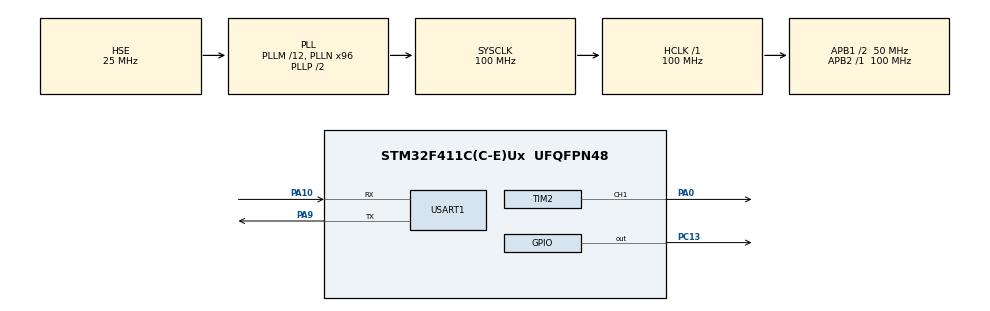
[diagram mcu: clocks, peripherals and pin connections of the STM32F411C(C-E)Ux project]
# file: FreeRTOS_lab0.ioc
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Mcu.Family=STM32F4
Mcu.Name=STM32F411C(C-E)Ux
Mcu.Package=UFQFPN48
NVIC.PriorityGroup=NVIC_PRIORITYGROUP_4
NVIC.TIM5_IRQn=true\:15\:0\:false\:false\:true\:false\:true\:true
NVIC.TimeBase=TIM5_IRQn
NVIC.TimeBaseIP=TIM5
NVIC.USART1_IRQn=true\:15\:0\:true\:false\:true\:true\:true\:true
PA0-WKUP.Signal=S_TIM2_CH1_ETR
PA10.Mode=Asynchronous
PA10.Signal=USART1_RX
PA9.Mode=Asynchronous
PA9.Signal=USART1_TX
PC13-ANTI_TAMP.Signal=GPIO_Output
PC14-OSC32_IN.Mode=LSE-External-Oscillator
PC14-OSC32_IN.Signal=RCC_OSC32_IN
PC15-OSC32_OUT.Mode=LSE-External-Oscillator
PC15-OSC32_OUT.Signal=RCC_OSC32_OUT
PH0\ -\ OSC_IN.Mode=HSE-External-Oscillator
PH0\ -\ OSC_IN.Signal=RCC_OSC_IN
PH1\ -\ OSC_OUT.Mode=HSE-External-Oscillator
PH1\ -\ OSC_OUT.Signal=RCC_OSC_OUT
ProjectManager.HeapSize=0x200
ProjectManager.StackSize=0x400
ProjectManager.TargetToolchain=CMake
RCC.48MHZClocksFreq_Value=50000000
RCC.AHBFreq_Value=100000000
RCC.APB1CLKDivider=RCC_HCLK_DIV2
RCC.APB1Freq_Value=50000000
RCC.APB1TimFreq_Value=100000000
RCC.APB2Freq_Value=100000000
RCC.APB2TimFreq_Value=100000000
RCC.CortexFreq_Value=100000000
RCC.HCLKFreq_Value=100000000
RCC.HSE_VALUE=25000000
RCC.HSI_VALUE=16000000
RCC.PLLM=12
RCC.PLLN=96
RCC.PLLSourceVirtual=RCC_PLLSOURCE_HSE
RCC.SYSCLKFreq_VALUE=100000000
RCC.SYSCLKSource=RCC_SYSCLKSOURCE_PLLCLK
RCC.VCOOutputFreq_Value=200000000
SH.S_TIM2_CH1_ETR.0=TIM2_CH1,PWM Generation1 CH1
TIM2.Channel-PWM\ Generation1\ CH1=TIM_CHANNEL_1
TIM2.Period=2000
USART1.VirtualMode=VM_ASYNC
VP_SYS_VS_tim5.Mode=TIM5
board=custom

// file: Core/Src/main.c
/* USER CODE BEGIN Header */
/**
  ******************************************************************************
  * @file           : main.c
  * @brief          : Main program body
  ******************************************************************************
  * @attention
  *
  * Copyright (c) 2025 STMicroelectronics.
  * All rights reserved.
  *
  * This software is licensed under terms that can be found in the LICENSE file
  * in the root directory of this software component.
  * If no LICENSE file comes with this software, it is provided AS-IS.
  *
  ******************************************************************************
  */
/* USER CODE END Header */
#include "main.h"

TIM_HandleTypeDef htim2;

UART_HandleTypeDef huart1;

void SystemClock_Config(void);
static void MX_GPIO_Init(void);
static void MX_TIM2_Init(void);
static void MX_USART1_UART_Init(void);

/* USER CODE BEGIN 0 */

void vApplicationStackOverflowHook(TaskHandle_t xTask, char* text) {
  while (1){}
}

void vApplicationMallocFailedHook(void) {
  while(1) {
    HAL_GPIO_TogglePin(GPIOC, GPIO_PIN_13);
    for(volatile int i=0; i<500000; i++);
  }
}

TaskHandle_t mainTaskHandle;

uint16_t currentMessagePosition_IRQ = 1;
char messageBuffer_IRQ[1024] = {0};

void HAL_UART_RxCpltCallback(UART_HandleTypeDef *huart) {
  if (huart == &huart1) {
    if (HAL_UART_Receive_IT(&huart1, (uint8_t*)(messageBuffer_IRQ + currentMessagePosition_IRQ), 1) == HAL_OK) {

      char receivedSymbol = messageBuffer_IRQ[currentMessagePosition_IRQ - 1];

      if (receivedSymbol == '\n' || receivedSymbol == '\r') {
        messageBuffer_IRQ[currentMessagePosition_IRQ] = '\0';
        currentMessagePosition_IRQ = 1;

        xTaskNotifyFromISR(mainTaskHandle, (uint32_t)messageBuffer_IRQ, eSetValueWithOverwrite, NULL);
      }else {
        currentMessagePosition_IRQ++;
      }

    }
  }
}

void ReadTask(void *pvParameters) {
  uint16_t currentMessagePosition = 0;
  char* messageBuffer = pvPortMalloc(1024);
  char* transmitBuffer = pvPortMalloc(1024 + 15);
  while(1) {
    if (HAL_UART_Receive(&huart1, (uint8_t*)(messageBuffer + currentMessagePosition), 1, 1000) == HAL_OK) {

      if (messageBuffer[currentMessagePosition] == '\n' || messageBuffer[currentMessagePosition] == '\r') {
        currentMessagePosition = 0;

        sprintf(transmitBuffer, "Received data: %s\n\r", messageBuffer);
        HAL_UART_Transmit(&huart1, (uint8_t*)transmitBuffer, 1024, 1000);
        xTaskNotify(mainTaskHandle, parseMessage(messageBuffer), eSetValueWithOverwrite);
      }else {
        currentMessagePosition++;
      }

    }
  }
}

void MainTask(void *pvParameters) {
  uint32_t rec_value;
  char* transmitBuffer = pvPortMalloc(1024);
  while (1) {
    vTaskDelay(pdMS_TO_TICKS(100));
    if (xTaskNotifyWait(0, INT32_MAX, &rec_value, portMAX_DELAY) == pdTRUE) {
      const int16_t cycles_value = parseMessage((char*)rec_value);
      if (cycles_value >= 0) {
        TIM2->CCR1 = (uint32_t)cycles_value;
      }
      snprintf(transmitBuffer, 1024, "Received data: %s\r\n", (char*) rec_value);
      HAL_UART_Transmit(&huart1, (uint8_t*)transmitBuffer, 1024, 1000);
    }
  }
}

/* USER CODE END 0 */

int main(void)
{

  /* USER CODE BEGIN 1 */
  init_mprintf();
  /* USER CODE END 1 */

  /* MCU Configuration--------------------------------------------------------*/

  /* Reset of all peripherals, Initializes the Flash interface and the Systick. */
  HAL_Init();

  /* USER CODE BEGIN Init */
  BaseType_t result = pdFAIL;
  /* USER CODE END Init */

  /* Configure the system clock */
  SystemClock_Config();

  /* Initialize all configured peripherals */
  MX_GPIO_Init();
  MX_TIM2_Init();
  MX_USART1_UART_Init();
  /* USER CODE BEGIN 2 */

  HAL_TIM_PWM_Start(&htim2, TIM_CHANNEL_1);

  result = xTaskCreate(MainTask, "MainTask", 512, NULL, 1, &mainTaskHandle);
  if (result != pdPASS) {
    Error_Handler();
  }

  /*result = xTaskCreate(ReadTask, "ReadTask", 512, NULL, 1, NULL);
  if (result != pdPASS) {
    Error_Handler();
  }*/

  HAL_UART_Receive_IT(&huart1, (uint8_t*)(messageBuffer_IRQ), 1);

  vTaskStartScheduler();
  Error_Handler();
  /* USER CODE END 2 */

  /* Infinite loop */
  /* USER CODE BEGIN WHILE */
  while (1)
  {
    // Test LED blinks BEFORE FreeRTOS
    /*for(int i=0; i<5; i++) {
      HAL_GPIO_TogglePin(GPIOC, GPIO_PIN_13);
      HAL_Delay(200);
    }*/

    /* USER CODE END WHILE */

  }
}

void SystemClock_Config(void)
{
  RCC_OscInitTypeDef RCC_OscInitStruct = {0};
  RCC_ClkInitTypeDef RCC_ClkInitStruct = {0};

  /** Configure the main internal regulator output voltage
  */
  __HAL_RCC_PWR_CLK_ENABLE();
  __HAL_PWR_VOLTAGESCALING_CONFIG(PWR_REGULATOR_VOLTAGE_SCALE1);

  /** Initializes the RCC Oscillators according to the specified parameters
  * in the RCC_OscInitTypeDef structure.
  */
  RCC_OscInitStruct.OscillatorType = RCC_OSCILLATORTYPE_HSE;
  RCC_OscInitStruct.HSEState = RCC_HSE_ON;
  RCC_OscInitStruct.PLL.PLLState = RCC_PLL_ON;
  RCC_OscInitStruct.PLL.PLLSource = RCC_PLLSOURCE_HSE;
  RCC_OscInitStruct.PLL.PLLM = 12;
  RCC_OscInitStruct.PLL.PLLN = 96;
  RCC_OscInitStruct.PLL.PLLP = RCC_PLLP_DIV2;
  RCC_OscInitStruct.PLL.PLLQ = 4;
  if (HAL_RCC_OscConfig(&RCC_OscInitStruct) != HAL_OK)
  {
    Error_Handler();
  }

  /** Initializes the CPU, AHB and APB buses clocks
  */
  RCC_ClkInitStruct.ClockType = RCC_CLOCKTYPE_HCLK|RCC_CLOCKTYPE_SYSCLK
                              |RCC_CLOCKTYPE_PCLK1|RCC_CLOCKTYPE_PCLK2;
  RCC_ClkInitStruct.SYSCLKSource = RCC_SYSCLKSOURCE_PLLCLK;
  RCC_ClkInitStruct.AHBCLKDivider = RCC_SYSCLK_DIV1;
  RCC_ClkInitStruct.APB1CLKDivider = RCC_HCLK_DIV2;
  RCC_ClkInitStruct.APB2CLKDivider = RCC_HCLK_DIV1;

  if (HAL_RCC_ClockConfig(&RCC_ClkInitStruct, FLASH_LATENCY_3) != HAL_OK)
  {
    Error_Handler();
  }
}

static void MX_TIM2_Init(void)
{

  TIM_MasterConfigTypeDef sMasterConfig = {0};
  TIM_OC_InitTypeDef sConfigOC = {0};

  htim2.Instance = TIM2;
  htim2.Init.Prescaler = 0;
  htim2.Init.CounterMode = TIM_COUNTERMODE_UP;
  htim2.Init.Period = 2000;
  htim2.Init.ClockDivision = TIM_CLOCKDIVISION_DIV1;
  htim2.Init.AutoReloadPreload = TIM_AUTORELOAD_PRELOAD_DISABLE;
  if (HAL_TIM_PWM_Init(&htim2) != HAL_OK)
  {
    Error_Handler();
  }
  sMasterConfig.MasterOutputTrigger = TIM_TRGO_RESET;
  sMasterConfig.MasterSlaveMode = TIM_MASTERSLAVEMODE_DISABLE;
  if (HAL_TIMEx_MasterConfigSynchronization(&htim2, &sMasterConfig) != HAL_OK)
  {
    Error_Handler();
  }
  sConfigOC.OCMode = TIM_OCMODE_PWM1;
  sConfigOC.Pulse = 0;
  sConfigOC.OCPolarity = TIM_OCPOLARITY_HIGH;
  sConfigOC.OCFastMode = TIM_OCFAST_DISABLE;
  if (HAL_TIM_PWM_ConfigChannel(&htim2, &sConfigOC, TIM_CHANNEL_1) != HAL_OK)
  {
    Error_Handler();
  }
  HAL_TIM_MspPostInit(&htim2);

}

static void MX_USART1_UART_Init(void)
{

  huart1.Instance = USART1;
  huart1.Init.BaudRate = 115200;
  huart1.Init.WordLength = UART_WORDLENGTH_8B;
  huart1.Init.StopBits = UART_STOPBITS_1;
  huart1.Init.Parity = UART_PARITY_NONE;
  huart1.Init.Mode = UART_MODE_TX_RX;
  huart1.Init.HwFlowCtl = UART_HWCONTROL_NONE;
  huart1.Init.OverSampling = UART_OVERSAMPLING_16;
  if (HAL_UART_Init(&huart1) != HAL_OK)
  {
    Error_Handler();
  }

}

static void MX_GPIO_Init(void)
{
  GPIO_InitTypeDef GPIO_InitStruct = {0};

  /* GPIO Ports Clock Enable */
  __HAL_RCC_GPIOC_CLK_ENABLE();
  __HAL_RCC_GPIOH_CLK_ENABLE();
  __HAL_RCC_GPIOA_CLK_ENABLE();

  /*Configure GPIO pin Output Level */
  HAL_GPIO_WritePin(GPIOC, GPIO_PIN_13, GPIO_PIN_RESET);

  /*Configure GPIO pin : PC13 */
  GPIO_InitStruct.Pin = GPIO_PIN_13;
  GPIO_InitStruct.Mode = GPIO_MODE_OUTPUT_PP;
  GPIO_InitStruct.Pull = GPIO_NOPULL;
  GPIO_InitStruct.Speed = GPIO_SPEED_FREQ_LOW;
  HAL_GPIO_Init(GPIOC, &GPIO_InitStruct);

}

void HAL_TIM_PeriodElapsedCallback(TIM_HandleTypeDef *htim)
{
  if (htim->Instance == TIM5)
  {
    HAL_IncTick();
  }
}

void Error_Handler(void)
{
  /* USER CODE BEGIN Error_Handler_Debug */
  /* User can add his own implementation to report the HAL error return state */
  __disable_irq();
  while (1)
  {
    printRTT("[CRITICAL ERROR]\n");
  }
  /* USER CODE END Error_Handler_Debug */
}
